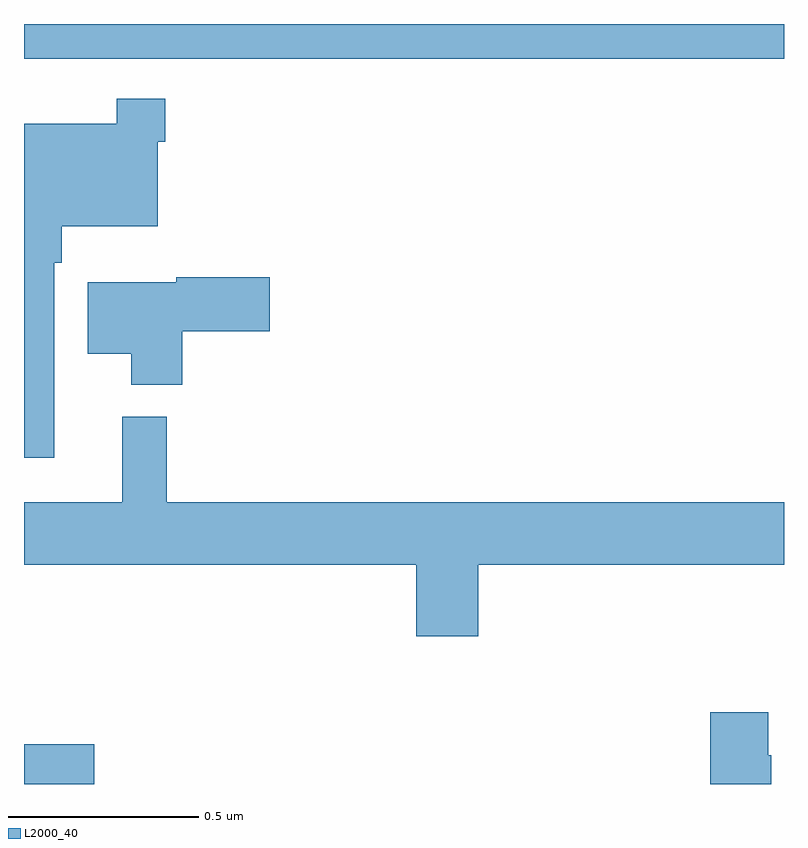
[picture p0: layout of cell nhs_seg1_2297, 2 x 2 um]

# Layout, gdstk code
import gdstk
lib = gdstk.Library(unit=1e-6, precision=1e-09)
def R(c, l, rs):  # rectangles x0, y0, x1, y1
    for r in rs: c.add(gdstk.rectangle(r[:2], r[2:], *l))
def P(c, l, *ps):  # polygons
    for p in ps: c.add(gdstk.Polygon(p, *l))
L2000_40 = (2000, 40)

nhs_seg1_2297 = lib.new_cell('nhs_seg1_2297')
R(nhs_seg1_2297, L2000_40, [(140,507.199,140.185,507.303), (140,509.108,142,509.199)])
P(nhs_seg1_2297, L2000_40, [(140.08,508.571),(140.099,508.571),(140.099,508.667),(140.352,508.667),(140.352,508.889),(140.372,508.889),(140.372,509.002),(140.244,509.002),(140.244,508.936),(140,508.936),(140,508.058),(140.08,508.058)],
  [(140.417,508.39),(140.647,508.39),(140.647,508.532),(140.4,508.532),(140.4,508.519),(140.168,508.519),(140.168,508.331),(140.282,508.331),(140.282,508.25),(140.417,508.25)],
  [(141.196,507.776),(142,507.776),(142,507.94),(140.375,507.94),(140.375,508.165),(140.258,508.165),(140.258,507.94),(140,507.94),(140,507.776),(141.032,507.776),(141.032,507.588),(141.196,507.588)],
  [(141.966,507.275),(141.959,507.275),(141.959,507.388),(141.806,507.388),(141.806,507.199),(141.966,507.199)])

lib.write_gds('nhs_seg1_2297.gds')
